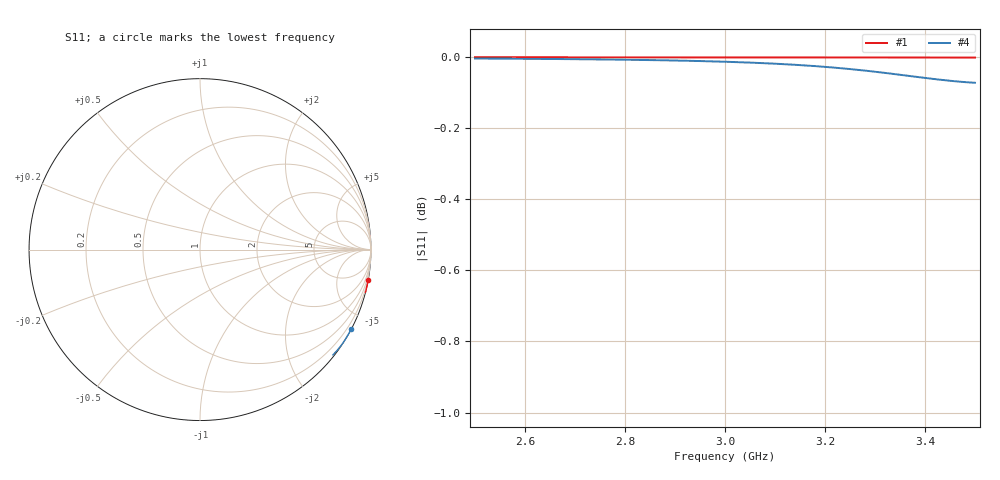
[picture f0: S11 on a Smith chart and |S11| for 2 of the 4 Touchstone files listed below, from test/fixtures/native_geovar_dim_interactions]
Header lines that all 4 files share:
! Sonnet Data File
! From: em Version : 18.53-Lite
! Data is NOT De-embedded
!< HDATE 10/24/2012 09:32:25
!< MDATE 10/24/2012 09:32:25
# GHZ S RI R 50.00000
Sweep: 2.5 GHz to 3.5 GHz
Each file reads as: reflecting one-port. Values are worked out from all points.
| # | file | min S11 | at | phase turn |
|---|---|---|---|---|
| 1 | b4_lit_mix.s2p | 0.0 dB | 3.5 GHz | -4 deg |
| 2 | b4_symL_act_param1.s2p | 0.0 dB | 3.5 GHz | -4 deg |
| 3 | b4_xaxis_param1.s2p | 0.0 dB | 3.5 GHz | -4 deg |
| 4 | ord2_param7_native.s2p | -0.1 dB | 3.5 GHz | -11 deg |
